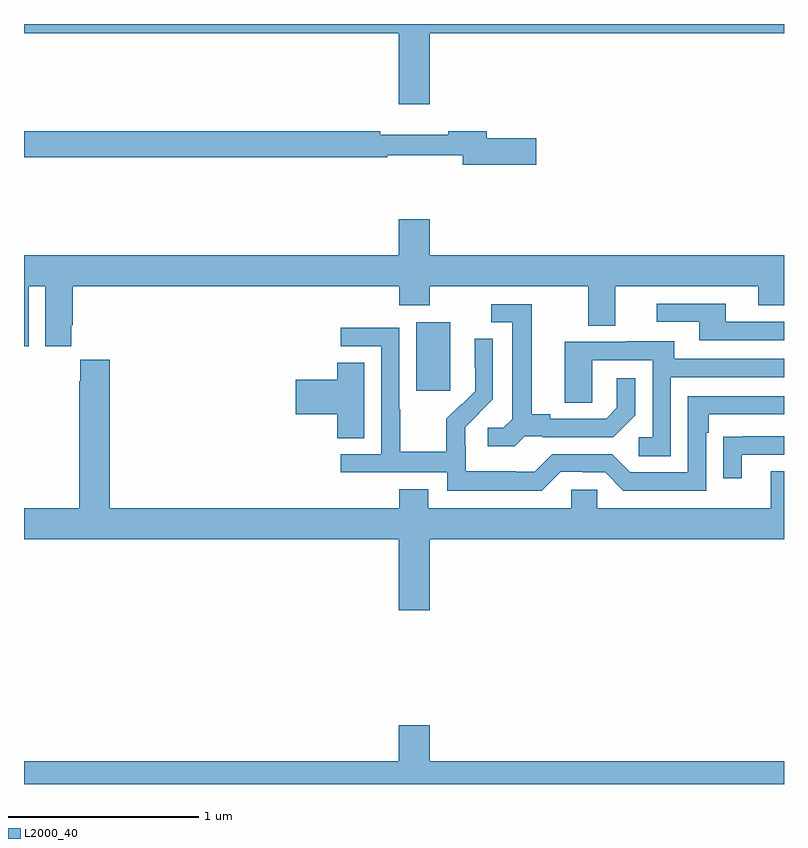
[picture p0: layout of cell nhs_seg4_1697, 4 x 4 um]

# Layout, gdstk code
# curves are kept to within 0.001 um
import gdstk
lib = gdstk.Library(unit=1e-6, precision=1e-09)
def R(c, l, rs):  # rectangles x0, y0, x1, y1
    for r in rs: c.add(gdstk.rectangle(r[:2], r[2:], *l))
def P(c, l, *ps):  # polygons
    for p in ps: c.add(gdstk.Polygon(p, *l))
L2000_40 = (2000, 40)

nhs_seg4_1697 = lib.new_cell('nhs_seg4_1697')
R(nhs_seg4_1697, L2000_40, [(201.065,762.969,201.244,763.33)])
P(nhs_seg4_1697, L2000_40, [(201.136,764.852),(203,764.852),(203,764.9),(199,764.9),(199,764.852),(200.972,764.852),(200.972,764.478),(201.136,764.478)],
  [(201.697,764.3),(201.436,764.3),(201.436,764.336),(201.232,764.336),(201.232,764.317),(200.876,764.317),(200.876,764.336),(199,764.336),(199,764.2),(200.912,764.2),(200.912,764.208),(201.308,764.208),(201.308,764.158),(201.697,764.158)],
  [(199.024,763.52),(199.112,763.52),(199.112,763.203),(199.249,763.203),(199.249,763.315),(199.256,763.315),(199.256,763.52),(200.975,763.52),(200.975,763.421),(201.135,763.421),(201.135,763.52),(201.971,763.52),(201.971,763.312),(202.111,763.312),(202.111,763.52),(202.865,763.52),(202.865,763.421),(203,763.421),(203,763.684),(201.136,763.684),(201.136,763.873),(200.972,763.873),(200.972,763.684),(199,763.684),(199,763.203),(199.024,763.203)],
  [(203,763.332),(202.693,763.332),(202.693,763.428),(202.329,763.428),(202.329,763.332),(202.553,763.332),(202.553,763.236),(203,763.236)],
  [(201.636,762.729),(201.73,762.729),(201.73,762.726),(202.102,762.726),(202.218,762.842),(202.218,763.036),(202.121,763.036),(202.121,762.879),(202.064,762.822),(201.769,762.822),(201.769,762.845),(201.673,762.845),(201.673,763.425),(201.459,763.425),(201.459,763.329),(201.569,763.329),(201.569,762.821),(201.522,762.774),(201.441,762.774),(201.441,762.677),(201.584,762.677)],
  [(201.825,762.543),(201.941,762.543),(201.941,762.54),(202.059,762.54),(202.155,762.444),(202.59,762.444),(202.59,762.749),(202.603,762.749),(202.603,762.846),(203,762.846),(203,762.942),(202.494,762.942),(202.494,762.54),(202.191,762.54),(202.095,762.636),(201.78,762.636),(201.687,762.543),(201.587,762.543),(201.587,762.547),(201.324,762.547),(201.324,762.681),(201.322,762.681),(201.322,762.778),(201.468,762.926),(201.468,763.244),(201.372,763.244),(201.372,763.09),(201.374,763.09),(201.374,762.968),(201.303,762.897),(201.3,762.9),(201.223,762.823),(201.223,762.649),(200.979,762.649),(200.979,762.872),(200.976,762.872),(200.976,763.302),(200.667,763.302),(200.667,763.203),(200.88,763.203),(200.88,762.636),(200.667,762.636),(200.667,762.54),(201.228,762.54),(201.228,762.443),(201.725,762.443)],
  [(202.404,763.041),(203,763.041),(203,763.137),(202.423,763.137),(202.423,763.231),(202.169,763.231),(202.169,763.227),(201.845,763.227),(201.845,762.907),(201.99,762.907),(201.99,763.131),(202.308,763.131),(202.308,762.726),(202.236,762.726),(202.236,762.625),(202.404,762.625)],
  [(201.136,762.188),(203,762.188),(203,762.547),(202.931,762.547),(202.931,762.352),(202.017,762.352),(202.017,762.45),(201.879,762.45),(201.879,762.352),(201.127,762.352),(201.127,762.451),(200.975,762.451),(200.975,762.352),(199.451,762.352),(199.451,763.132),(199.295,763.132),(199.295,763.019),(199.291,763.019),(199.291,762.352),(199,762.352),(199,762.188),(200.972,762.188),(200.972,761.814),(201.136,761.814)],
  [(200.791,763.118),(200.648,763.118),(200.648,763.028),(200.43,763.028),(200.43,762.845),(200.648,762.845),(200.648,762.721),(200.791,762.721)],
  [(202.777,762.633),(203,762.633),(203,762.729),(202.783,762.729),(202.783,762.728),(202.681,762.728),(202.681,762.51),(202.777,762.51)],
  [(203,761.02),(201.136,761.02),(201.136,761.209),(200.972,761.209),(200.972,761.02),(199,761.02),(199,760.9),(203,760.9)])

lib.write_gds('nhs_seg4_1697.gds')
